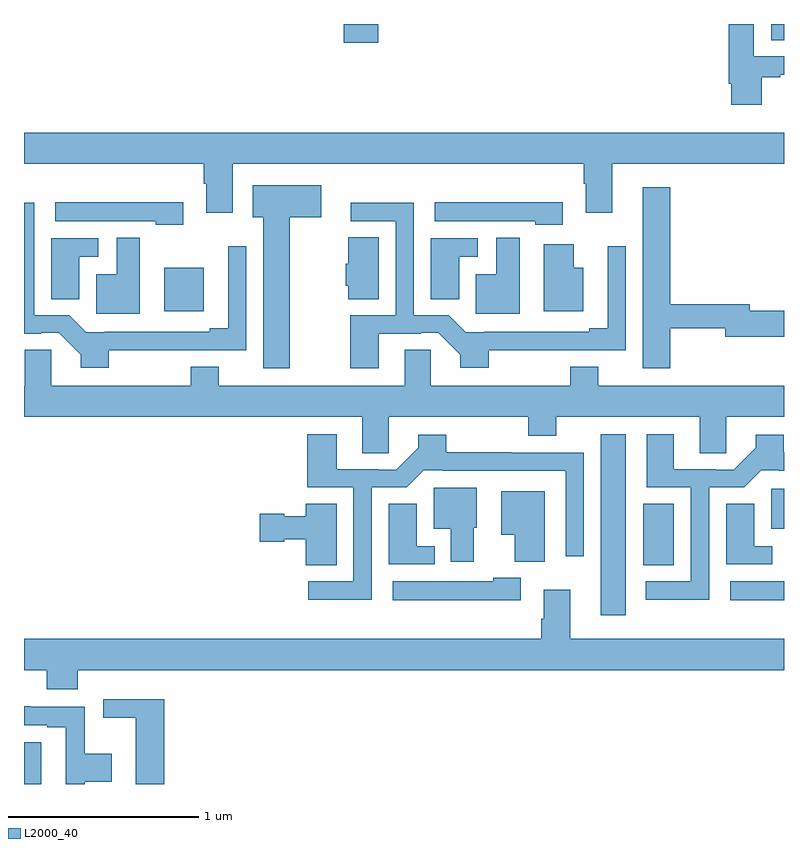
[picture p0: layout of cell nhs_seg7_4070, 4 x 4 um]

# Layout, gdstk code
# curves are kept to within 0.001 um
import gdstk
lib = gdstk.Library(unit=1e-6, precision=1e-09)
def R(c, l, rs):  # rectangles x0, y0, x1, y1
    for r in rs: c.add(gdstk.rectangle(r[:2], r[2:], *l))
def P(c, l, *ps):  # polygons
    for p in ps: c.add(gdstk.Polygon(p, *l))
L2000_40 = (2000, 40)

nhs_seg7_4070 = lib.new_cell('nhs_seg7_4070')
R(nhs_seg7_4070, L2000_40, [(369,1016,369.091,1016.221), (372.035,1016.889,372.166,1017.841), (372.717,1016.966,373,1017.067), (372.26,1017.151,372.421,1017.476), (372.932,1017.344,373,1017.553), (369.737,1018.487,369.946,1018.717), (370.682,1019.901,370.865,1020), (372.932,1019.914,373,1020)])
P(nhs_seg7_4070, L2000_40, [(372.883,1019.721),(372.979,1019.721),(372.979,1019.733),(373,1019.733),(373,1019.829),(372.841,1019.829),(372.841,1020),(372.71,1020),(372.71,1019.686),(372.722,1019.686),(372.722,1019.574),(372.883,1019.574)],
  [(370.099,1019.264),(371.945,1019.264),(371.945,1019.158),(371.957,1019.158),(371.957,1019.007),(372.097,1019.007),(372.097,1019.264),(373,1019.264),(373,1019.428),(369,1019.428),(369,1019.264),(369.947,1019.264),(369.947,1019.158),(369.959,1019.158),(369.959,1019.007),(370.099,1019.007)],
  [(370.398,1018.982),(370.564,1018.982),(370.564,1019.152),(370.203,1019.152),(370.203,1018.982),(370.259,1018.982),(370.259,1018.188),(370.398,1018.188)],
  [(372.401,1018.398),(372.692,1018.398),(372.692,1018.355),(373,1018.355),(373,1018.49),(372.82,1018.49),(372.82,1018.526),(372.401,1018.526),(372.401,1019.14),(372.257,1019.14),(372.257,1018.188),(372.401,1018.188)],
  [(371.836,1019.062),(371.163,1019.062),(371.163,1018.961),(371.691,1018.961),(371.691,1018.943),(371.836,1018.943)],
  [(369.838,1019.062),(369.165,1019.062),(369.165,1018.961),(369.693,1018.961),(369.693,1018.943),(369.838,1018.943)],
  [(370.867,1018.371),(371.087,1018.371),(371.087,1018.374),(371.181,1018.374),(371.297,1018.258),(371.297,1018.19),(371.445,1018.19),(371.445,1018.283),(372.168,1018.284),(372.168,1018.831),(372.072,1018.831),(372.072,1018.4),(371.975,1018.4),(371.975,1018.38),(371.422,1018.38),(371.422,1018.377),(371.326,1018.377),(371.236,1018.467),(371.052,1018.467),(371.052,1019.06),(370.719,1019.06),(370.719,1018.962),(370.956,1018.962),(370.956,1018.467),(370.717,1018.467),(370.717,1018.188),(370.867,1018.188)],
  [(369.447,1018.283),(370.17,1018.284),(370.17,1018.831),(370.074,1018.831),(370.074,1018.4),(369.977,1018.4),(369.977,1018.38),(369.424,1018.38),(369.424,1018.377),(369.328,1018.377),(369.238,1018.467),(369.054,1018.467),(369.054,1019.06),(369,1019.06),(369,1018.371),(369.089,1018.371),(369.089,1018.374),(369.183,1018.374),(369.299,1018.258),(369.299,1018.19),(369.447,1018.19)],
  [(370.867,1018.877),(370.706,1018.877),(370.706,1018.737),(370.694,1018.737),(370.694,1018.623),(370.706,1018.623),(370.706,1018.552),(370.867,1018.552)],
  [(371.608,1018.876),(371.486,1018.876),(371.486,1018.684),(371.378,1018.684),(371.378,1018.475),(371.608,1018.475)],
  [(369.61,1018.876),(369.488,1018.876),(369.488,1018.684),(369.38,1018.684),(369.38,1018.475),(369.61,1018.475)],
  [(369.292,1018.776),(369.391,1018.776),(369.391,1018.872),(369.143,1018.872),(369.143,1018.552),(369.292,1018.552)],
  [(371.29,1018.776),(371.389,1018.776),(371.389,1018.872),(371.141,1018.872),(371.141,1018.552),(371.29,1018.552)],
  [(371.944,1018.717),(371.893,1018.717),(371.893,1018.84),(371.735,1018.84),(371.735,1018.487),(371.944,1018.487)],
  [(370.92,1017.932),(371.653,1017.932),(371.653,1017.833),(371.8,1017.833),(371.8,1017.932),(372.557,1017.932),(372.557,1017.742),(372.696,1017.742),(372.696,1017.932),(373,1017.932),(373,1018.096),(372.022,1018.096),(372.022,1018.195),(371.875,1018.195),(371.875,1018.096),(371.142,1018.096),(371.142,1018.286),(371.003,1018.286),(371.003,1018.096),(370.024,1018.096),(370.024,1018.195),(369.877,1018.195),(369.877,1018.096),(369.144,1018.096),(369.144,1018.286),(369.005,1018.286),(369.005,1018.096),(369,1018.096),(369,1017.932),(370.781,1017.932),(370.781,1017.742),(370.92,1017.742)],
  [(372.606,1017.561),(372.79,1017.561),(372.88,1017.651),(372.976,1017.651),(372.976,1017.648),(373,1017.648),(372.999,1017.838),(372.851,1017.838),(372.851,1017.77),(372.735,1017.654),(372.641,1017.654),(372.641,1017.657),(372.421,1017.657),(372.421,1017.841),(372.278,1017.841),(372.278,1017.561),(372.51,1017.561),(372.51,1017.066),(372.273,1017.066),(372.273,1016.969),(372.606,1016.969)],
  [(370.83,1017.561),(371.014,1017.561),(371.104,1017.651),(371.2,1017.651),(371.2,1017.648),(371.849,1017.648),(371.85,1017.198),(371.946,1017.198),(371.946,1017.744),(371.564,1017.744),(371.564,1017.746),(371.223,1017.746),(371.223,1017.838),(371.075,1017.838),(371.075,1017.77),(370.959,1017.654),(370.865,1017.654),(370.865,1017.657),(370.645,1017.657),(370.645,1017.841),(370.49,1017.841),(370.49,1017.561),(370.734,1017.561),(370.734,1017.066),(370.497,1017.066),(370.497,1016.969),(370.83,1016.969)],
  [(371.368,1017.348),(371.383,1017.348),(371.383,1017.559),(371.156,1017.559),(371.156,1017.344),(371.246,1017.344),(371.246,1017.171),(371.368,1017.171)],
  [(371.74,1017.541),(371.513,1017.541),(371.513,1017.311),(371.582,1017.311),(371.582,1017.17),(371.74,1017.17)],
  [(371.161,1017.252),(371.068,1017.252),(371.068,1017.476),(370.919,1017.476),(370.919,1017.156),(371.161,1017.156)],
  [(370.645,1017.476),(370.484,1017.476),(370.484,1017.409),(370.371,1017.409),(370.371,1017.422),(370.242,1017.422),(370.242,1017.275),(370.371,1017.275),(370.371,1017.287),(370.484,1017.287),(370.484,1017.151),(370.645,1017.151)],
  [(372.937,1017.252),(372.844,1017.252),(372.844,1017.476),(372.695,1017.476),(372.695,1017.156),(372.937,1017.156)],
  [(371.614,1017.085),(371.469,1017.085),(371.469,1017.067),(370.941,1017.067),(370.941,1016.966),(371.614,1016.966)],
  [(369.284,1016.6),(373,1016.6),(373,1016.764),(371.875,1016.764),(371.875,1017.022),(371.735,1017.022),(371.735,1016.87),(371.723,1016.87),(371.723,1016.764),(369,1016.764),(369,1016.6),(369.119,1016.6),(369.119,1016.498),(369.284,1016.498)],
  [(369.737,1016.446),(369.417,1016.446),(369.417,1016.348),(369.587,1016.348),(369.587,1016),(369.737,1016)],
  [(369.32,1016.011),(369.463,1016.011),(369.463,1016.158),(369.32,1016.158),(369.32,1016.406),(369.035,1016.406),(369.035,1016.408),(369,1016.408),(369,1016.31),(369.122,1016.31),(369.122,1016.298),(369.219,1016.298),(369.219,1016),(369.32,1016)])

lib.write_gds('nhs_seg7_4070.gds')
